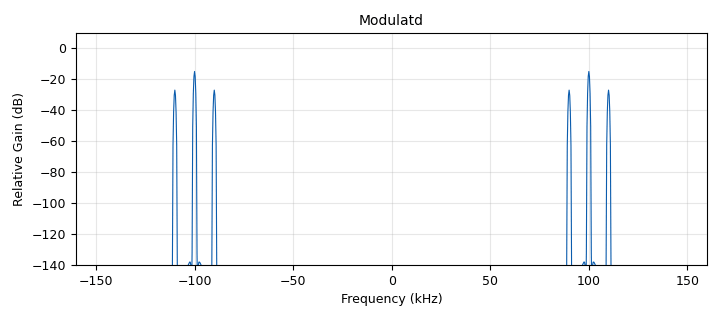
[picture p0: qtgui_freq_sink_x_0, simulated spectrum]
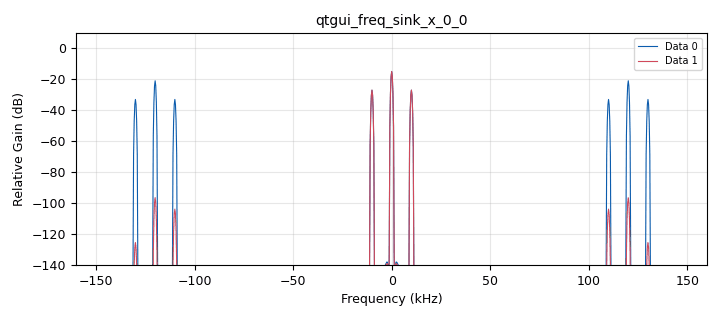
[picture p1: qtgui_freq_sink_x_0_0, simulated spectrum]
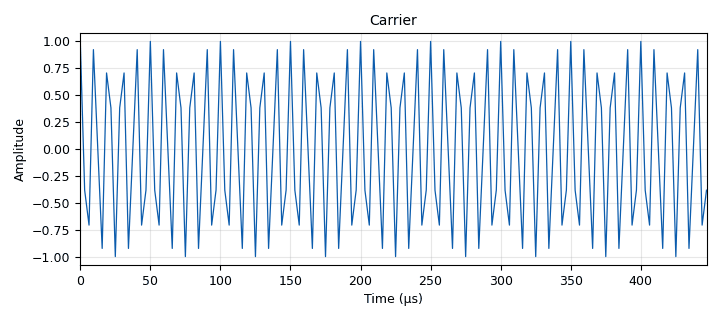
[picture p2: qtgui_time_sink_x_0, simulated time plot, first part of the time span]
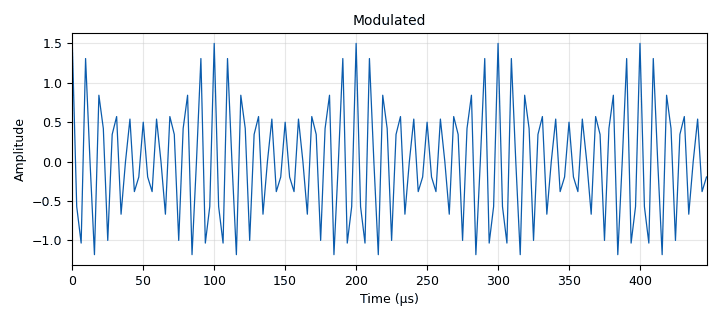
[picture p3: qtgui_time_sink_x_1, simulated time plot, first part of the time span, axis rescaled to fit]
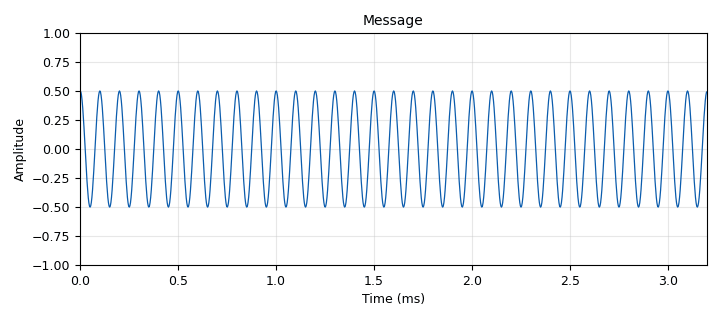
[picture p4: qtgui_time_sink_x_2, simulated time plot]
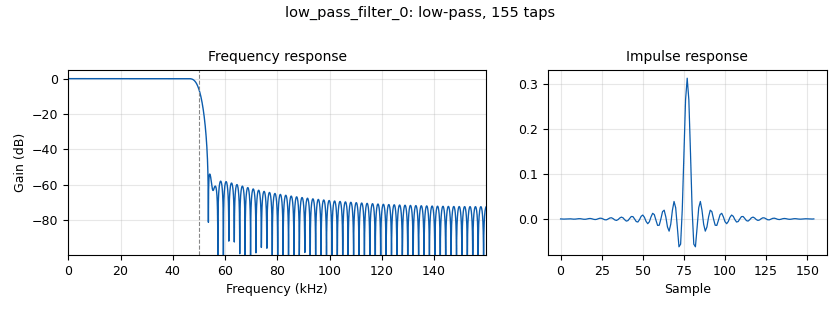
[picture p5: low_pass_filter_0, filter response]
options:
  parameters:
    author: shrut
    generate_options: qt_gui
    id: DSB_FC
    output_language: python
    title: Not titled yet
  states: {}

blocks:
- name: samp_rate
  id: variable
  parameters:
    value: '320000'
  states: {}
- name: analog_const_source_x_1
  id: analog_const_source_x
  parameters:
    const: '1'
    type: float
  states: {}
- name: analog_sig_source_x_0
  id: analog_sig_source_x
  parameters:
    amp: '1'
    freq: '100000'
    offset: '0'
    phase: '0'
    samp_rate: samp_rate
    type: float
    waveform: analog.GR_COS_WAVE
  states: {}
- name: analog_sig_source_x_1
  id: analog_sig_source_x
  parameters:
    amp: '0.5'
    freq: '10000'
    offset: '0'
    phase: '0'
    samp_rate: samp_rate
    type: float
    waveform: analog.GR_COS_WAVE
  states: {}
- name: blocks_add_xx_0
  id: blocks_add_xx
  parameters:
    type: float
  states: {}
- name: blocks_multiply_xx_0
  id: blocks_multiply_xx
  parameters:
    type: float
  states: {}
- name: blocks_multiply_xx_1
  id: blocks_multiply_xx
  parameters:
    type: float
  states: {}
- name: low_pass_filter_0
  id: low_pass_filter
  parameters:
    cutoff_freq: '50000'
    decim: '1'
    gain: '1'
    samp_rate: samp_rate
    type: fir_filter_fff
    width: '5000'
    win: window.WIN_HAMMING
  states: {}
- name: qtgui_freq_sink_x_0
  id: qtgui_freq_sink_x
  parameters:
    bw: samp_rate
    fc: '0'
    fftsize: '1024'
    name: '"Modulatd"'
    type: float
  states: {}
- name: qtgui_freq_sink_x_0_0
  id: qtgui_freq_sink_x
  parameters:
    bw: samp_rate
    fc: '0'
    fftsize: '1024'
    nconnections: '2'
    type: float
  states: {}
- name: qtgui_time_sink_x_0
  id: qtgui_time_sink_x
  parameters:
    name: '"Carrier"'
    size: '1024'
    srate: samp_rate
    type: float
  states: {}
- name: qtgui_time_sink_x_1
  id: qtgui_time_sink_x
  parameters:
    name: '"Modulated"'
    size: '1024'
    srate: samp_rate
    type: float
  states: {}
- name: qtgui_time_sink_x_2
  id: qtgui_time_sink_x
  parameters:
    name: '"Message"'
    size: '1024'
    srate: samp_rate
    type: float
  states: {}

connections:
- [analog_const_source_x_1, '0', blocks_add_xx_0, '1']
- [analog_sig_source_x_0, '0', blocks_multiply_xx_0, '1']
- [analog_sig_source_x_0, '0', blocks_multiply_xx_1, '1']
- [analog_sig_source_x_0, '0', qtgui_time_sink_x_0, '0']
- [analog_sig_source_x_1, '0', blocks_add_xx_0, '0']
- [analog_sig_source_x_1, '0', qtgui_time_sink_x_2, '0']
- [blocks_add_xx_0, '0', blocks_multiply_xx_1, '0']
- [blocks_multiply_xx_0, '0', low_pass_filter_0, '0']
- [blocks_multiply_xx_0, '0', qtgui_freq_sink_x_0_0, '0']
- [blocks_multiply_xx_1, '0', blocks_multiply_xx_0, '0']
- [blocks_multiply_xx_1, '0', qtgui_freq_sink_x_0, '0']
- [blocks_multiply_xx_1, '0', qtgui_time_sink_x_1, '0']
- [low_pass_filter_0, '0', qtgui_freq_sink_x_0_0, '1']

metadata:
  file_format: 1
  grc_version: 3.10.7.0
